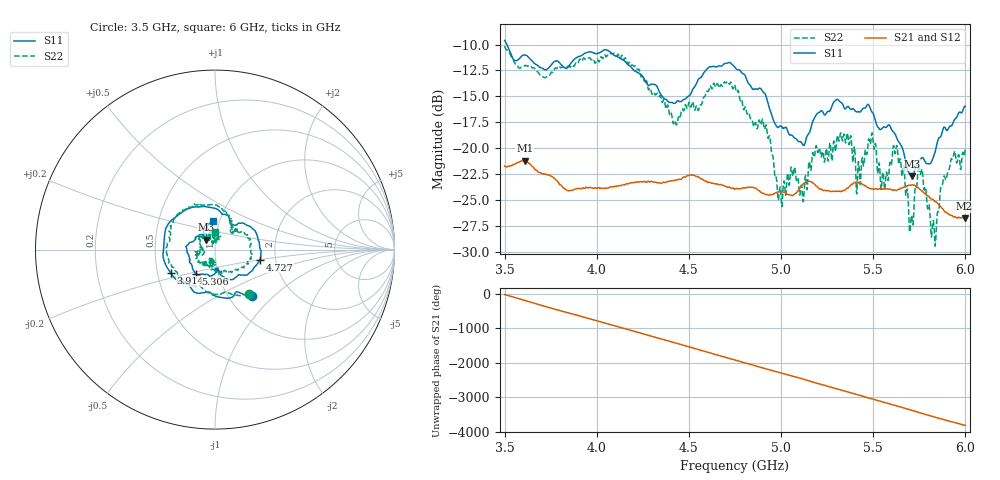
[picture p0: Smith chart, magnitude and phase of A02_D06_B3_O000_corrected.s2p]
! Created with skrf 1.9.0 (http://scikit-rf.org).
# Hz S RI R 50.0
!freq ReS11 ImS11 ReS21 ImS21 ReS12 ImS12 ReS22 ImS22
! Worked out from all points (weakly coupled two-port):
!   1601 points, 3.5 GHz to 6 GHz, reference 50 ohm
!   highest |S21| = -21.22 dB at 3.609 GHz (marker M1); lowest = -26.8 dB at 5.995 GHz (marker M2)
!   lowest |S11| = -22.7 dB at 5.711 GHz (marker M3), VSWR 1.16, Z = 45.1 + j4.96 ohm
!   |S11| at or under -10 dB: 3.512 GHz to end of sweep
!   |S22| runs from -29.5 to -10.2 dB; largest |S21 - S12| = 0.00095
!   S11 on the Smith chart (normalised r, x): 3.5 GHz: 1.29, -0.74; 3.914 GHz: 0.59, -0.16; 4.727 GHz: 1.66, -0.20; 5.306 GHz: 0.78, -0.22; 6 GHz: 0.93, +0.30
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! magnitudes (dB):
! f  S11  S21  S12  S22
! 3.5 GHz  -9.6  -21.7  -21.7  -10.2
! 3.609 GHz  -11.0  -21.2  -21.2  -12.0
! 3.914 GHz  -11.1  -23.9  -23.9  -11.5
! 3.917 GHz  -11.1  -23.9  -23.9  -11.6
! 4.334 GHz  -14.3  -23.3  -23.3  -14.9
! 4.425 GHz  -15.7  -23.1  -23.1  -17.4
! 4.727 GHz  -11.8  -23.9  -23.7  -13.6
! 4.75 GHz  -12.2  -24.0  -23.9  -14.0
! 4.911 GHz  -14.7  -24.4  -24.4  -18.2
! 4.994 GHz  -17.9  -24.2  -24.1  -23.8
! 5.167 GHz  -17.7  -23.3  -23.3  -21.1
! 5.306 GHz  -15.3  -24.2  -24.1  -18.8
! 5.419 GHz  -16.5  -23.4  -23.4  -21.3
! 5.486 GHz  -16.2  -23.9  -23.9  -19.5
! 5.584 GHz  -17.8  -24.0  -23.9  -22.5
! 5.62 GHz  -18.7  -24.1  -24.1  -20.5
! 5.711 GHz  -22.7  -23.5  -23.5  -26.9
! 5.755 GHz  -21.1  -24.0  -23.9  -22.4
! 5.828 GHz  -20.8  -25.1  -25.0  -27.3
! 5.877 GHz  -18.3  -25.9  -25.8  -23.4
! 5.995 GHz  -16.0  -26.8  -26.7  -20.7
! 6 GHz  -16.0  -26.8  -26.7  -20.0
